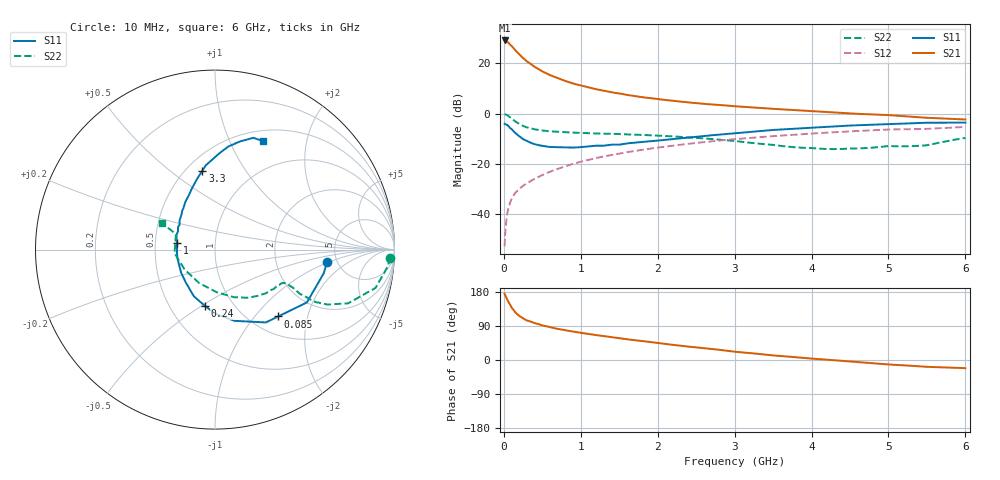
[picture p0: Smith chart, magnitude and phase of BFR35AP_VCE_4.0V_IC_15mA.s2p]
! Infineon Technologies  Discrete & RF Semiconductors
! BFR35AP
! VCE =  4.0 V,  IC =  15 mA
! Common Emitter S-Parameters:  Nov 2015
# GHz  S  MA  R  50
!  f  S11  S21  S12  S22
! GHz  MAG  ANG  MAG  ANG  MAG  ANG  MAG  ANG
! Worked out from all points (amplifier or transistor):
!   210 points, 10 MHz to 6 GHz, reference 50 ohm
!   highest |S21| = 29.1 dB at 10 MHz (marker M1)
!   |S21| within 3 dB of that: start of sweep to 124.1 MHz
!   unconditionally stable (mu >= 1): 475 MHz to 3.026 GHz
!   at 185 MHz: K = 0.66, MSG = 27.2 dB, |S12| = -30.4 dB
!   at 1.52 GHz: K = 1.10, MAG = 10.0 dB, |S12| = -15.8 dB
!   at 6 GHz: K = 0.95, MSG = 1.5 dB, |S12| = -5.3 dB
!   S11 on the Smith chart (normalised r, x): 10 MHz: 4.14, -0.96; 85 MHz: 1.32, -1.33; 240 MHz: 0.74, -0.52; 1 GHz: 0.65, +0.05; 3.3 GHz: 0.60, +0.66; 6 GHz: 0.63, +1.35
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0.01  0.6278 -6.4  28.55 174.8  0.0023 88.5  0.9778 -2.6
0.02  0.62 -12.3  28.15 169.9  0.0047 83.6  0.9664 -5.7
0.05  0.5907 -29.9  26.58 156.6  0.0114 76.6  0.9195 -13.4
0.085  0.5124 -46.6  23.36 144.5  0.0175 70.7  0.8333 -19.2
0.1  0.4949 -55.1  22.36 138.4  0.0202 69.3  0.7993 -22.0
0.15  0.4115 -74.7  18.19 125.0  0.0266 65.4  0.6966 -26.1
0.2  0.3565 -90.0  15.13 116.3  0.0319 64.6  0.6226 -27.7
0.24  0.3185 -100.0  13.16 111.0  0.0356 64.6  0.5788 -27.5
0.3  0.2852 -114.4  10.95 104.3  0.0411 65.9  0.53 -27.5
0.4  0.2464 -130.8  8.521 97.4  0.0503 67.0  0.4855 -26.1
0.5  0.2291 -145.2  6.911 91.3  0.0598 67.7  0.4608 -25.7
0.7  0.2153 -165.9  5.065 82.0  0.0796 68.4  0.4347 -25.6
0.9  0.211 178.7  3.963 75.1  0.1002 67.8  0.4171 -26.7
1  0.2155 169.7  3.626 71.7  0.1101 67.3  0.4132 -27.2
1.02  0.2167 168.6  3.563 71.1  0.112 67.2  0.4123 -27.5
1.4  0.2408 148.8  2.647 60.1  0.1499 64.6  0.3968 -32.8
2.02  0.2921 126.8  1.932 44.8  0.2125 58.6  0.3631 -43.2
3.1  0.4197 102.3  1.368 20.1  0.319 45.8  0.2739 -71.6
3.3  0.4456 99.1  1.303 16.3  0.3371 43.2  0.2536 -78.9
4.1  0.5353 87.6  1.099 2.3  0.4095 33.1  0.2007 -121.3
5.1  0.6251 75.8  0.911 -12.9  0.4841 19.0  0.2238 179.8
6  0.6614 65.9  0.764 -21.5  0.5428 8.7  0.3292 153.4
